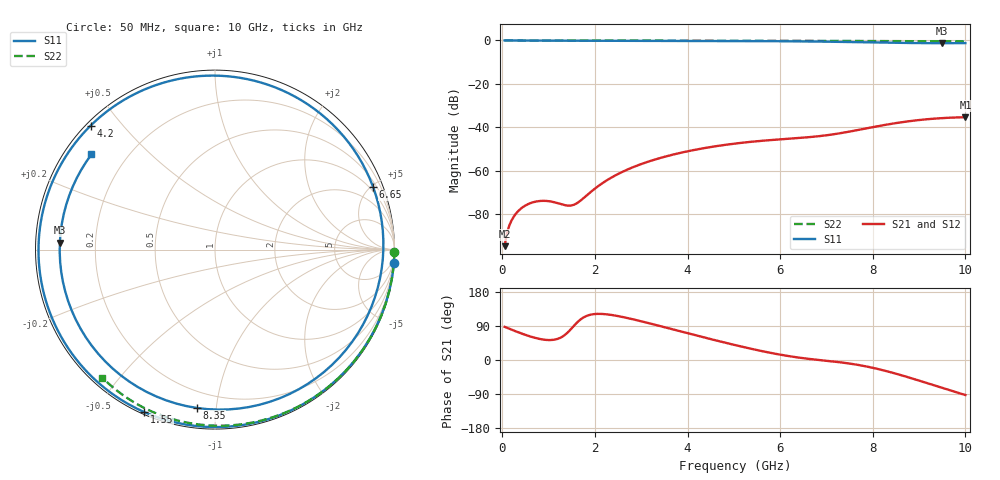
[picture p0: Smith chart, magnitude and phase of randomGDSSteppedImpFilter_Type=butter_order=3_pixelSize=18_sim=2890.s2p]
! freq	dB(S11)	phase(S11)	dB(S12)	phase(S12)
!  dB(S21)	phase(S21)	dB(S22)	phase(S22)
!S-par simulation data
#  GHz  S  DB  R 50
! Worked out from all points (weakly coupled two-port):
!   200 points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, 50 MHz to 10 GHz, reference 50 ohm
!   highest |S21| = -35.34 dB at 10 GHz (marker M1); lowest = -94.7 dB at 50 MHz (marker M2)
!   lowest |S11| = -1.3 dB at 9.5 GHz (marker M3), VSWR 13.85, Z = 3.61 + j1.12 ohm
!   |S11| at or under -10 dB: nowhere
!   |S22| runs from -0.4 to 0.0 dB; largest |S21 - S12| = 0
!   S11 on the Smith chart (normalised r, x): 50 MHz: 0, -26; 1.55 GHz: 0.01, -0.65; 4.2 GHz: 0.01, +0.41; 6.65 GHz: 0.76, +5.15; 8.35 GHz: 0.11, -0.88; 10 GHz: 0.08, +0.34
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0.05  -0.00 -4.4  -94.70 87.5  -94.70 87.5  -0.00 -0.8
0.25  -0.03 -21.5  -81.03 77.6  -81.03 77.6  -0.01 -3.8
0.4  -0.05 -34.1  -77.44 70.6  -77.44 70.6  -0.01 -6.1
0.8  -0.08 -65.4  -73.94 55.7  -73.94 55.7  -0.02 -12.1
1.15  -0.10 -89.6  -74.62 54.3  -74.62 54.3  -0.02 -17.3
1.55  -0.11 -113.7  -75.60 90.7  -75.60 90.7  -0.03 -23.2
1.75  -0.12 -124.5  -72.67 112.1  -72.67 112.1  -0.03 -26.2
2.55  -0.13 -161.5  -60.93 114.7  -60.93 114.7  -0.05 -37.8
3.4  -0.16 165.1  -54.16 89.8  -54.16 89.8  -0.07 -49.9
4.2  -0.19 135.0  -50.18 64.5  -50.18 64.5  -0.09 -60.9
5.05  -0.25 101.3  -47.41 38.7  -47.41 38.7  -0.11 -72.2
5.85  -0.33 64.9  -45.77 17.5  -45.77 17.5  -0.14 -82.5
6.25  -0.39 44.3  -45.15 9.0  -45.15 9.0  -0.16 -87.5
6.65  -0.47 21.5  -44.47 2.5  -44.47 2.5  -0.18 -92.4
6.7  -0.48 18.6  -44.37 1.8  -44.37 1.8  -0.18 -93.0
7.1  -0.59 -6.6  -43.36 -3.4  -43.36 -3.4  -0.20 -97.9
7.45  -0.70 -30.4  -42.14 -8.5  -42.14 -8.5  -0.22 -102.1
7.95  -0.88 -66.5  -40.11 -19.3  -40.11 -19.3  -0.26 -108.0
8.35  -1.03 -96.7  -38.56 -31.1  -38.56 -31.1  -0.29 -112.6
8.95  -1.20 -142.1  -36.75 -52.5  -36.75 -52.5  -0.34 -119.5
9.5  -1.26 177.4  -35.74 -73.6  -35.74 -73.6  -0.39 -125.8
10  -1.22 142.4  -35.34 -92.5  -35.34 -92.5  -0.44 -131.4
